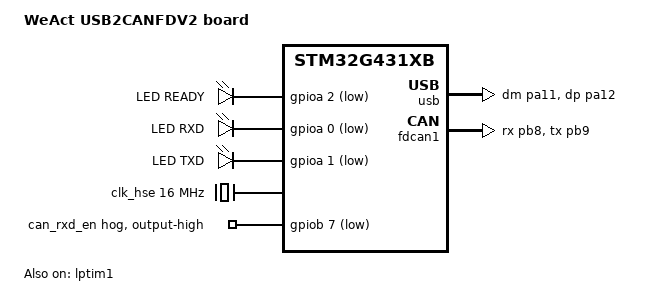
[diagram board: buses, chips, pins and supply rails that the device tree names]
/*
 * SPDX-FileCopyrightText: Copyright (c) 2026 Henrik Brix Andersen <henrik@brixandersen.dk>
 *
 * SPDX-License-Identifier: Apache-2.0
 */

/dts-v1/;

#include <st/g4/stm32g431Xb.dtsi>
#include <st/g4/stm32g431c(6-8-b)tx-pinctrl.dtsi>

/ {
	model = "WeAct USB2CANFDV2 board";
	compatible = "weact,usb2canfdv2";

	chosen {
		zephyr,sram = &sram0;
		zephyr,flash = &flash0;
		zephyr,canbus = &fdcan1;
	};

	aliases {
		led0 = &led_ready;
		led1 = &led_rxd;
		led2 = &led_txd;
	};

	leds {
		compatible = "gpio-leds";

		led_ready: led_ready {
			gpios = <&gpioa 2 GPIO_ACTIVE_LOW>;
			label = "LED READY";
		};

		led_rxd: led_rxd {
			gpios = <&gpioa 0 GPIO_ACTIVE_LOW>;
			label = "LED RXD";
		};

		led_txd: led_txd {
			gpios = <&gpioa 1 GPIO_ACTIVE_LOW>;
			label = "LED TXD";
		};
	};
};

&clk_hse {
	status = "okay";
	clock-frequency = <DT_FREQ_M(16)>;
};

&clk_hsi48 {
	status = "okay";
};

&pll {
	status = "okay";
	div-m = <4>;
	mul-n = <80>;
	div-p = <2>;
	div-q = <4>;
	div-r = <2>;
	clocks = <&clk_hse>;
};

&rcc {
	clocks = <&pll>;
	clock-frequency = <DT_FREQ_M(160)>;
	ahb-prescaler = <1>;
	apb1-prescaler = <1>;
	apb2-prescaler = <1>;
};

stm32_lp_tick_source: &lptim1 {
	clocks = <&rcc STM32_CLOCK(APB1, 31)>,
		 <&rcc STM32_SRC_LSE LPTIM1_SEL(3)>;
	status = "okay";
};

zephyr_udc0: &usb {
	status = "okay";
	clocks = <&rcc STM32_CLOCK(APB1, 23)>,
		 <&rcc STM32_SRC_HSI48 CLK48_SEL(0)>;
	pinctrl-0 = <&usb_dm_pa11 &usb_dp_pa12>;
	pinctrl-names = "default";
};

&gpioa {
	status = "okay";
};

&gpiob {
	status = "okay";

	can_rxd_en {
		/* Enable CAN RX upon boot */
		gpio-hog;
		gpios = <7 GPIO_ACTIVE_LOW>;
		output-high;
	};
};

&fdcan1 {
	status = "okay";
	clocks = <&rcc STM32_CLOCK(APB1, 25)>,
		 <&rcc STM32_SRC_PLL_Q FDCAN_SEL(1)>;
	pinctrl-0 = <&fdcan1_rx_pb8 &fdcan1_tx_pb9>;
	pinctrl-names = "default";

	can-transceiver {
		max-bitrate = <5000000>;
	};
};
